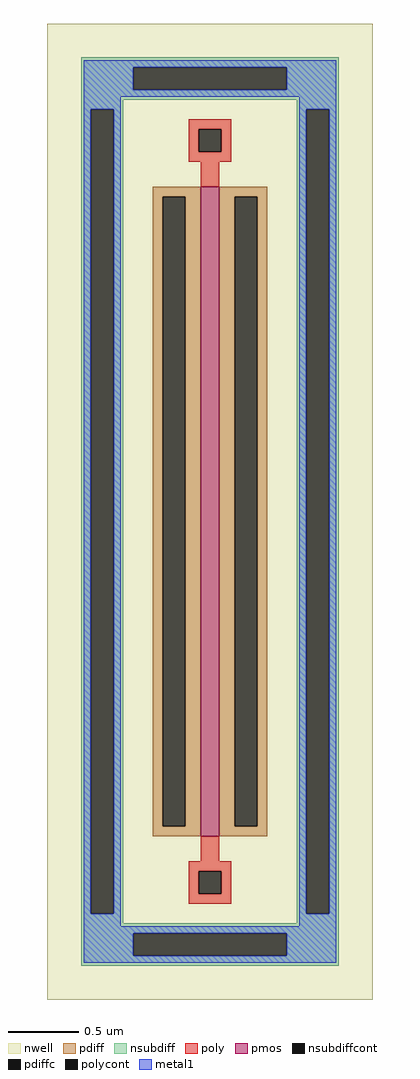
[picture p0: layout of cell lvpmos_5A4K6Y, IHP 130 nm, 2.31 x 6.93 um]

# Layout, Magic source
magic
tech ihp-sg13g2
magscale 1 2
<< nwell >>
rect -231 -693 231 693
<< pmos >>
rect -13 -461 13 461
<< pdiff >>
rect -81 447 -13 461
rect -81 -447 -67 447
rect -35 -447 -13 447
rect -81 -461 -13 -447
rect 13 447 81 461
rect 13 -447 35 447
rect 67 -447 81 447
rect 13 -461 81 -447
<< pdiffc >>
rect -67 -447 -35 447
rect 35 -447 67 447
<< nsubdiff >>
rect -183 631 183 645
rect -183 599 -109 631
rect 109 599 183 631
rect -183 585 183 599
rect -183 571 -123 585
rect -183 -571 -169 571
rect -137 -571 -123 571
rect 123 571 183 585
rect -183 -585 -123 -571
rect 123 -571 137 571
rect 169 -571 183 571
rect 123 -585 183 -571
rect -183 -599 183 -585
rect -183 -631 -109 -599
rect 109 -631 183 -599
rect -183 -645 183 -631
<< nsubdiffcont >>
rect -109 599 109 631
rect -169 -571 -137 571
rect 137 -571 169 571
rect -109 -631 109 -599
<< poly >>
rect -30 543 30 557
rect -30 511 -16 543
rect 16 511 30 543
rect -30 497 30 511
rect -13 461 13 497
rect -13 -497 13 -461
rect -30 -511 30 -497
rect -30 -543 -16 -511
rect 16 -543 30 -511
rect -30 -557 30 -543
<< polycont >>
rect -16 511 16 543
rect -16 -543 16 -511
<< metal1 >>
rect -179 631 179 641
rect -179 599 -109 631
rect 109 599 179 631
rect -179 589 179 599
rect -179 571 -127 589
rect -179 -571 -169 571
rect -137 -571 -127 571
rect 127 571 179 589
rect -179 -589 -127 -571
rect 127 -571 137 571
rect 169 -571 179 571
rect 127 -589 179 -571
rect -179 -599 179 -589
rect -179 -631 -109 -599
rect 109 -631 179 -599
rect -179 -641 179 -631
<< properties >>
string gencell lvpmos
string library sg13g2_devstdin
string parameters w 4.61 l 0.13 nf 1 nx 1 dx 0.21 ny 1 dy 0.18 wmin 0.50 lmin 0.50 class mosfet gcontcov_t 100 gcontcov_b 100 dcontcov_l 100 dcontcov_r 100 guard_distf 1 glc 1 grc 1 gtc 1 gbc 1
<< end >>
